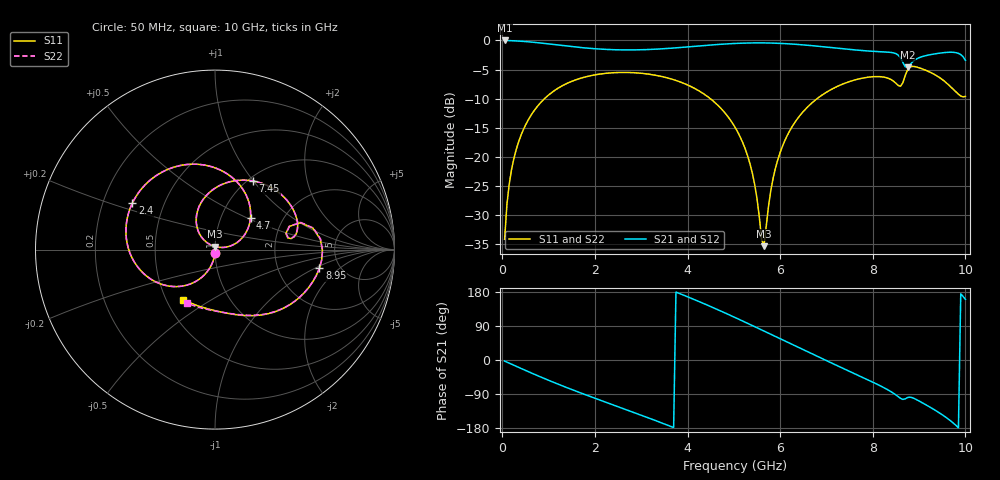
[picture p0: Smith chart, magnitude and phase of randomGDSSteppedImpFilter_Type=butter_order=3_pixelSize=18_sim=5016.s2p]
! freq	dB(S11)	phase(S11)	dB(S12)	phase(S12)
!  dB(S21)	phase(S21)	dB(S22)	phase(S22)
!S-par simulation data
#  GHz  S  DB  R 50
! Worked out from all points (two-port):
!   200 points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, 50 MHz to 10 GHz, reference 50 ohm
!   highest |S21| = -0.01 dB at 50 MHz (marker M1); lowest = -4.6 dB at 8.75 GHz (marker M2)
!   |S21| within 3 dB of the highest: start of sweep to 8.6 GHz; 8.99 GHz to 9.967 GHz (976.9 MHz wide, 10.3 % of centre)
!   lowest |S11| = -35.3 dB at 5.65 GHz (marker M3), VSWR 1.03, Z = 50 + j1.71 ohm
!   |S11| at or under -10 dB: start of sweep to 911.8 MHz; 4.493 GHz to 6.797 GHz (2.304 GHz wide, 40.8 % of centre)
!   |S22| runs from -35.6 to -4.4 dB; largest |S21 - S12| = 0
!   S11 on the Smith chart (normalised r, x): 50 MHz: 1.00, -0.04; 2.4 GHz: 0.33, +0.24; 4.7 GHz: 1.38, +0.53; 7.45 GHz: 1.05, +1.00; 8.95 GHz: 3.50, -1.12; 10 GHz: 0.61, -0.38
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0.05  -34.14 -92.8  -0.01 -2.8  -0.01 -2.8  -34.14 -92.8
0.2  -22.17 -101.6  -0.05 -11.1  -0.05 -11.1  -22.17 -101.6
0.5  -14.56 -118.0  -0.19 -27.5  -0.19 -27.5  -14.56 -118.0
1.1  -8.76 -149.1  -0.69 -58.6  -0.69 -58.6  -8.76 -149.1
1.75  -6.36 179.9  -1.26 -89.5  -1.26 -89.5  -6.36 179.9
2.4  -5.54 150.7  -1.59 -118.8  -1.59 -118.8  -5.54 150.7
3.4  -6.12 105.8  -1.46 -164.0  -1.46 -164.0  -6.12 105.8
4.1  -8.02 72.3  -1.05 161.8  -1.05 161.8  -8.02 72.3
4.7  -11.49 42.1  -0.67 130.2  -0.67 130.2  -11.49 42.0
5.05  -15.24 24.7  -0.51 110.8  -0.51 110.8  -15.24 24.6
5.4  -22.81 12.7  -0.43 90.9  -0.43 90.9  -22.81 12.3
5.65  -35.32 89.9  -0.43 76.4  -0.43 76.4  -35.61 90.2
5.8  -25.69 137.9  -0.45 67.7  -0.45 67.7  -25.74 138.5
6  -19.23 136.2  -0.51 56.0  -0.51 56.0  -19.24 136.6
6.7  -10.63 101.6  -0.91 15.4  -0.91 15.4  -10.63 101.8
7.45  -7.19 61.0  -1.51 -27.2  -1.51 -27.2  -7.19 61.2
8.35  -6.55 13.1  -2.03 -80.4  -2.03 -80.4  -6.54 13.4
8.75  -5.05 12.3  -4.61 -99.2  -4.61 -99.2  -5.02 12.4
8.95  -4.57 -10.2  -3.16 -104.9  -3.16 -104.9  -4.56 -10.0
9.5  -6.71 -50.9  -2.13 -144.5  -2.13 -144.5  -6.68 -50.1
9.8  -8.88 -79.7  -2.10 -172.9  -2.10 -172.9  -8.78 -77.6
10  -9.60 -122.6  -3.42 160.1  -3.42 160.1  -9.42 -117.9
